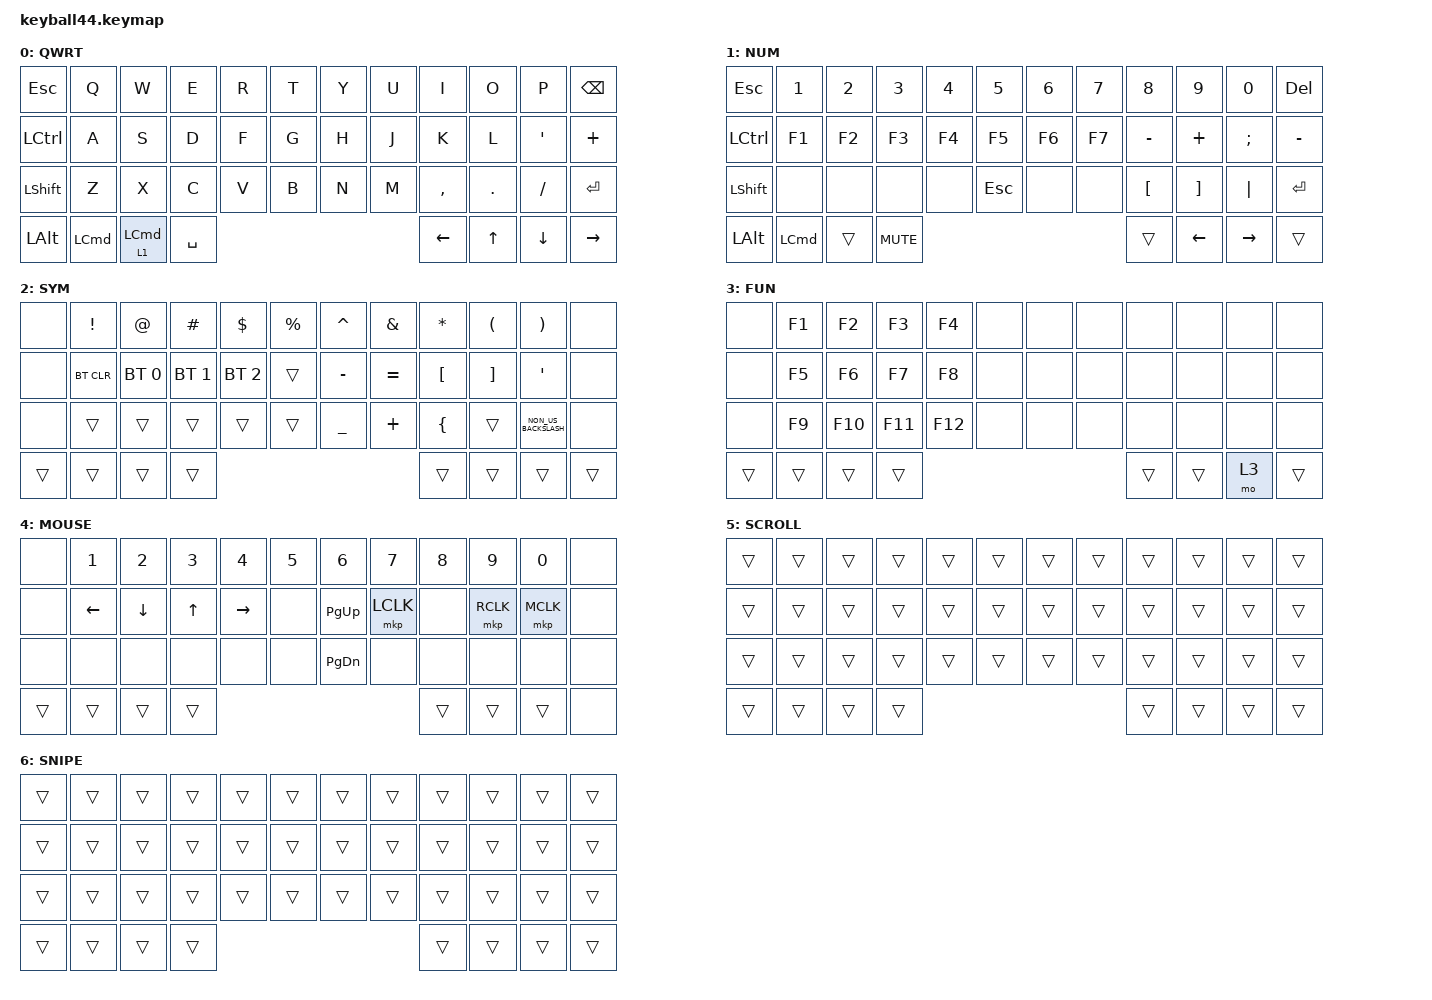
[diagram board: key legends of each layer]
#define DEFAULT 0
#define NUM     1
#define SYM     2
#define FUN     3
#define MOUSE   4
#define SCROLL  5
#define SNIPE   6

#include <behaviors/mouse_keys.dtsi>
#include <dt-bindings/zmk/mouse.h>
#include <behaviors.dtsi>
#include <dt-bindings/zmk/bt.h>
#include <dt-bindings/zmk/keys.h>
#include <dt-bindings/zmk/pointing.h>

&lt {
    tapping-term-ms = <240>;
    flavor = "balanced";
    quick-tap-ms = <150>;
};

&mt {
    tapping-term-ms = <200>;
    flavor = "tap-preferred";
    quick-tap-ms = <150>;
};

&caps_word { continue-list = <UNDERSCORE MINUS>; };

/ {
    // custom shift using mod-morph 

    behaviors {
        cmqus: comma_question {
            compatible = "zmk,behavior-mod-morph";
            label = "COMMA_QUESTION";
            #binding-cells = <0>;
            bindings = <&kp COMMA>, <&kp QUESTION>;

            mods = <(MOD_LSFT|MOD_RSFT)>;
        };

        dtsmi: dot_semi {
            compatible = "zmk,behavior-mod-morph";
            label = "DOT_SEMI";
            #binding-cells = <0>;
            bindings = <&kp DOT>, <&kp SEMI>;

            mods = <(MOD_LSFT|MOD_RSFT)>;
        };
    };

    keymap {
        compatible = "zmk,keymap";

        default_layer {
            label = "QWRT";
            bindings = <
&kp ESCAPE      &kp Q             &kp W               &kp E      &kp R           &kp T                    &kp Y           &kp U  &kp I      &kp O    &kp P             &kp BACKSPACE
&kp LCTRL       &kp A             &kp S               &kp D      &kp F           &kp G                    &kp H           &kp J  &kp K      &kp L    &kp SINGLE_QUOTE  &kp PLUS
&kp LEFT_SHIFT  &kp Z             &kp X               &kp C      &kp V           &kp B                    &kp N           &kp M  &kp COMMA  &kp DOT  &kp SLASH         &kp ENTER
&kp LEFT_ALT    &kp LEFT_COMMAND  &lt 1 LEFT_COMMAND  &kp SPACE  &kp LEFT_ARROW             &kp UP_ARROW  &kp DOWN_ARROW                                               &kp RIGHT
            >;
        };

        number_layer {
            label = "NUM";
            bindings = <
&kp ESCAPE        &kp NUMBER_1      &kp NUMBER_2  &kp NUMBER_3  &kp NUMBER_4  &kp NUMBER_5                      &kp NUMBER_6     &kp NUMBER_7  &kp NUMBER_8      &kp NUMBER_9       &kp NUMBER_0  &kp DELETE
&kp LEFT_CONTROL  &kp F1            &kp F2        &kp F3        &kp F4        &kp F5                            &kp F6           &kp F7        &kp MINUS         &kp PLUS           &kp SEMI      &kp MINUS
&kp LEFT_SHIFT    &none             &none         &none         &none         &kp ESC                           &none            &none         &kp LEFT_BRACKET  &kp RIGHT_BRACKET  &kp PIPE      &kp ENTER
&kp LEFT_ALT      &kp LEFT_COMMAND  &trans        &kp K_MUTE    &trans                          &kp LEFT_ARROW  &kp RIGHT_ARROW                                                                   &trans
            >;
        };

        symbol_layer {
            label = "SYM";
            bindings = <
&none   &kp EXCLAMATION  &kp AT_SIGN   &kp HASH      &kp DOLLAR    &kp PERCENT              &kp CARET       &kp AMPERSAND  &kp ASTERISK      &kp LEFT_PARENTHESIS  &kp RIGHT_PARENTHESIS  &none
&none   &bt BT_CLR       &bt BT_SEL 0  &bt BT_SEL 1  &bt BT_SEL 2  &trans                   &kp MINUS       &kp EQUAL      &kp LEFT_BRACKET  &kp RIGHT_BRACKET     &kp SQT                &none
&none   &trans           &trans        &trans        &trans        &trans                   &kp UNDERSCORE  &kp PLUS       &kp LEFT_BRACE    &trans                &kp NON_US_BACKSLASH   &none
&trans  &trans           &trans        &trans        &trans                         &trans  &trans                                                                                        &trans
            >;
        };

        function_layer {
            label = "FUN";
            bindings = <
&none   &kp F1  &kp F2   &kp F3   &kp F4   &none              &none  &none  &none  &none  &none  &none
&none   &kp F5  &kp F6   &kp F7   &kp F8   &none              &none  &none  &none  &none  &none  &none
&none   &kp F9  &kp F10  &kp F11  &kp F12  &none              &none  &none  &none  &none  &none  &none
&trans  &trans  &trans   &trans   &trans              &trans  &mo 3                              &trans
            >;
        };

        mouse_layer {
            label = "MOUSE";
            bindings = <
&none   &kp N1          &kp N2          &kp N3        &kp N4     &kp N5              &kp N6         &kp N7     &kp N8  &kp N9     &kp N0     &none
&none   &kp LEFT_ARROW  &kp DOWN_ARROW  &kp UP_ARROW  &kp RIGHT  &none               &kp PAGE_UP    &mkp LCLK  &none   &mkp RCLK  &mkp MCLK  &none
&none   &none           &none           &none         &none      &none               &kp PAGE_DOWN  &none      &none   &none      &none      &none
&trans  &trans          &trans          &trans        &trans                 &trans  &trans                                                  &none
            >;
        };

        scroll_layer {
            label = "SCROLL";
            bindings = <
&trans  &trans  &trans  &trans  &trans  &trans              &trans  &trans  &trans  &trans  &trans  &trans
&trans  &trans  &trans  &trans  &trans  &trans              &trans  &trans  &trans  &trans  &trans  &trans
&trans  &trans  &trans  &trans  &trans  &trans              &trans  &trans  &trans  &trans  &trans  &trans
&trans  &trans  &trans  &trans  &trans              &trans  &trans                                  &trans
            >;
        };

        snipe_layer {
            label = "SNIPE";
            bindings = <
&trans  &trans  &trans  &trans  &trans  &trans              &trans  &trans  &trans  &trans  &trans  &trans
&trans  &trans  &trans  &trans  &trans  &trans              &trans  &trans  &trans  &trans  &trans  &trans
&trans  &trans  &trans  &trans  &trans  &trans              &trans  &trans  &trans  &trans  &trans  &trans
&trans  &trans  &trans  &trans  &trans              &trans  &trans                                  &trans
            >;
        };
    };
};
